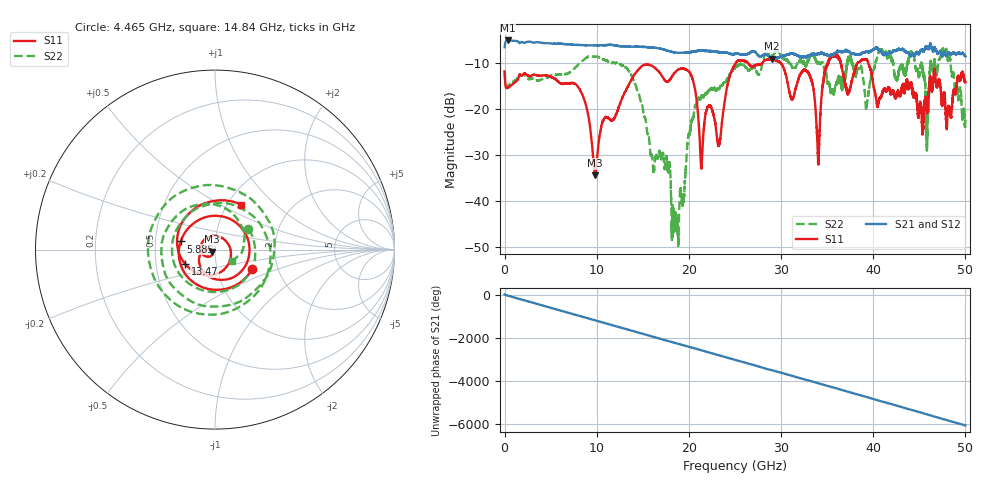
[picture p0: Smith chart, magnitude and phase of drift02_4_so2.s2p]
!Created with skrf (http://scikit-rf.org).
# Hz S RI R 50.0
!freq ReS11 ImS11 ReS21 ImS21 ReS12 ImS12 ReS22 ImS22
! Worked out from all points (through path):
!   10001 points, 300 kHz to 50 GHz, reference 50 ohm
!   highest |S21| = -5.04 dB at 325.3 MHz (marker M1); lowest = -9.0 dB at 29.05 GHz (marker M2)
!   group delay of S21, straight-line fit = 336 ps
!   lowest |S11| = -34.4 dB at 9.84 GHz (marker M3), VSWR 1.04, Z = 48.5 - j1.07 ohm
!   |S11| at or under -10 dB: start of sweep to 25.08 GHz; 29.98 GHz to 35.06 GHz (5.08 GHz wide, 15.6 % of centre); 39.47 GHz to end of sweep (the widest 3 of 9)
!   |S22| runs from -49.9 to -6.8 dB; largest |S21 - S12| = 0.019
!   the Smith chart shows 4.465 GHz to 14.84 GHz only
!   S11 on the Smith chart (normalised r, x): 4.465 GHz: 1.47, -0.34; 5.885 GHz: 0.68, +0.06; 13.47 GHz: 0.71, -0.12; 14.84 GHz: 1.16, +0.63
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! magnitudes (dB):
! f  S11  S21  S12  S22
! 300 kHz  -11.8  -6.5  -6.5  -11.7
! 325.3 MHz  -15.4  -5.0  -5.0  -15.0
! 4.465 GHz  -12.6  -5.6  -5.6  -13.2
! 5.885 GHz  -14.1  -5.7  -5.7  -12.5
! 8.335 GHz  -16.4  -6.0  -6.0  -9.6
! 9.84 GHz  -34.4  -6.1  -6.1  -8.6
! 13.47 GHz  -14.7  -6.4  -6.4  -11.6
! 14.84 GHz  -10.7  -6.4  -6.4  -18.6
! 16.67 GHz  -11.7  -6.8  -6.7  -30.2
! 18.66 GHz  -11.7  -7.7  -7.7  -45.0
! 20.37 GHz  -13.3  -7.5  -7.5  -22.3
! 21.37 GHz  -32.5  -7.3  -7.3  -17.2
! 23.3 GHz  -27.7  -7.5  -7.6  -15.5
! 25 GHz  -10.3  -8.0  -8.0  -11.0
! 29.05 GHz  -9.1  -9.0  -9.0  -8.3
! 33.34 GHz  -14.0  -8.1  -8.2  -8.0
! 34.02 GHz  -31.8  -8.0  -8.0  -10.1
! 35.54 GHz  -8.4  -8.1  -8.2  -15.7
! 41.67 GHz  -15.3  -7.7  -7.8  -7.5
! 45.87 GHz  -20.0  -6.9  -7.0  -26.6
! 47.77 GHz  -17.7  -7.6  -7.7  -7.2
! 50 GHz  -14.1  -8.4  -8.5  -22.7
